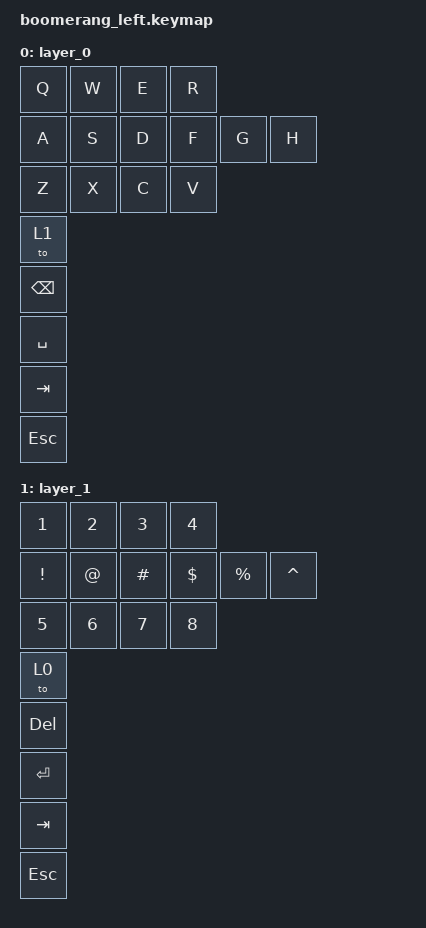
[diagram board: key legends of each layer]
#include <behaviors.dtsi>
#include <dt-bindings/zmk/keys.h>

/ {
    keymap {
        compatible = "zmk,keymap";

        layer_0 {
            bindings = <
                /* Row 0 */
                &kp Q      &kp W      &kp E      &kp R

                /* Row 1 */
                &kp A      &kp S      &kp D      &kp F      &kp G      &kp H

                /* Row 2 */
                &kp Z      &kp X      &kp C      &kp V

                /* Thumb Row */
                &to 1
                &kp BSPC
                &kp SPACE

                /* Lower Thumbs */
                &kp TAB
                &kp ESC
            >;
        };

        layer_1 {
            bindings = <
                /* Row 0 */
                &kp N1      &kp N2      &kp N3      &kp N4

                /* Row 1 */
                &kp EXCL    &kp AT      &kp HASH    &kp DLLR    &kp PRCNT   &kp CARET

                /* Row 2 */
                &kp N5      &kp N6      &kp N7      &kp N8

                /* Thumb Row */
                &to 0
                &kp DEL
                &kp ENTER

                /* Lower Thumbs */
                &kp TAB
                &kp ESC
            >;
        };
    };
};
